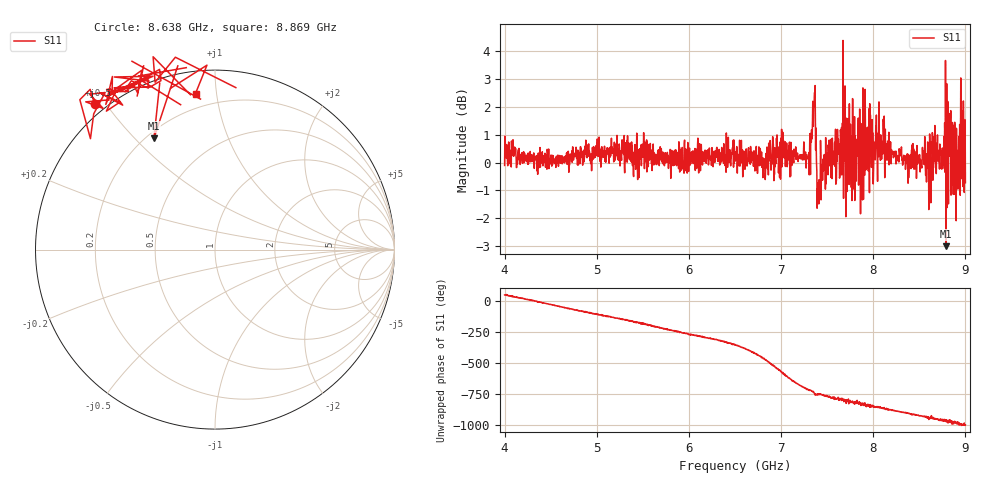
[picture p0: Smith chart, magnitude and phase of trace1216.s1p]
! Created with skrf 1.8.0 (http://scikit-rf.org).
# Hz S RI R 50.0
!freq ReS11 ImS11
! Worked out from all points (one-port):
!   1601 points, 4 GHz to 9 GHz, reference 50 ohm
!   lowest |S11| = -3.0 dB at 8.791 GHz (marker M1), VSWR 5.83, Z = 11.5 + j28.4 ohm
!   |S11| at or under -10 dB: nowhere
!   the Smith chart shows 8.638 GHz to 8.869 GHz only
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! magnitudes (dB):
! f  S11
! 4 GHz  -0.1
! 4.625 GHz  0.0
! 5.25 GHz  0.2
! 5.875 GHz  0.0
! 6.5 GHz  0.4
! 6.806 GHz  0.1
! 7.025 GHz  0.8
! 7.125 GHz  0.3
! 7.294 GHz  0.1
! 7.347 GHz  1.4
! 7.362 GHz  2.5
! 7.409 GHz  -1.5
! 7.522 GHz  0.8
! 7.619 GHz  0.8
! 7.669 GHz  0.9
! 7.75 GHz  0.0
! 7.775 GHz  2.3
! 7.95 GHz  0.4
! 8 GHz  -0.8
! 8.106 GHz  0.3
! 8.375 GHz  0.0
! 8.603 GHz  -1.7
! 8.656 GHz  0.9
! 8.791 GHz  -3.0
! 8.822 GHz  1.3
! 8.919 GHz  -1.0
! 8.972 GHz  0.6
! 9 GHz  -0.7
